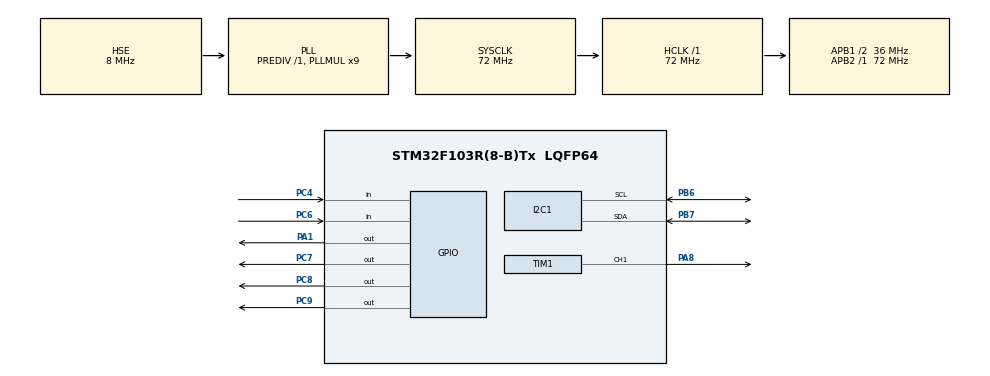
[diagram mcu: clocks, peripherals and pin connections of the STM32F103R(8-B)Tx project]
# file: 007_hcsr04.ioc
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I2C1.I2C_Mode=I2C_Fast
Mcu.Family=STM32F1
Mcu.Name=STM32F103R(8-B)Tx
Mcu.Package=LQFP64
NVIC.PriorityGroup=NVIC_PRIORITYGROUP_4
PA1.Signal=GPIO_Output
PA8.Signal=S_TIM1_CH1
PB6.Mode=I2C
PB6.Signal=I2C1_SCL
PB7.Mode=I2C
PB7.Signal=I2C1_SDA
PC4.Signal=GPIO_Input
PC6.Signal=GPIO_Input
PC7.Signal=GPIO_Output
PC8.Signal=GPIO_Output
PC9.Signal=GPIO_Output
PD0-OSC_IN.Mode=HSE-External-Oscillator
PD0-OSC_IN.Signal=RCC_OSC_IN
PD1-OSC_OUT.Mode=HSE-External-Oscillator
PD1-OSC_OUT.Signal=RCC_OSC_OUT
ProjectManager.HeapSize=0x200
ProjectManager.StackSize=0x400
ProjectManager.TargetToolchain=STM32CubeIDE
RCC.AHBFreq_Value=72000000
RCC.APB1CLKDivider=RCC_HCLK_DIV2
RCC.APB1Freq_Value=36000000
RCC.APB1TimFreq_Value=72000000
RCC.APB2Freq_Value=72000000
RCC.APB2TimFreq_Value=72000000
RCC.HCLKFreq_Value=72000000
RCC.PLLMUL=RCC_PLL_MUL9
RCC.PLLSourceVirtual=RCC_PLLSOURCE_HSE
RCC.SYSCLKFreq_VALUE=72000000
RCC.SYSCLKSource=RCC_SYSCLKSOURCE_PLLCLK
RCC.USBFreq_Value=72000000
SH.S_TIM1_CH1.0=TIM1_CH1,PWM Generation1 CH1
TIM1.Channel-PWM\ Generation1\ CH1=TIM_CHANNEL_1
TIM1.Period=7199
TIM1.Prescaler=10
board=custom

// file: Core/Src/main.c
/* USER CODE BEGIN Header */
/**
  ******************************************************************************
  * @file           : main.c
  * @brief          : Main program body
  ******************************************************************************
  * @attention
  *
  * Copyright (c) 2023 STMicroelectronics.
  * All rights reserved.
  *
  * This software is licensed under terms that can be found in the LICENSE file
  * in the root directory of this software component.
  * If no LICENSE file comes with this software, it is provided AS-IS.
  *
  ******************************************************************************
  */
/* USER CODE END Header */
#include "main.h"

/* USER CODE BEGIN Includes */
#include "dwt_delay.h"
#include "ssd1306.h"
/* USER CODE END Includes */

I2C_HandleTypeDef hi2c1;

TIM_HandleTypeDef htim1;

/* USER CODE BEGIN PV */

uint32_t time;
uint16_t distance;
int i=0;

/* USER CODE END PV */

void SystemClock_Config(void);
static void MX_GPIO_Init(void);
static void MX_I2C1_Init(void);
static void MX_TIM1_Init(void);

/* USER CODE BEGIN 0 */

uint32_t ReadHCSR04()
{
	uint32_t local_time=0;

	HAL_GPIO_WritePin(GPIOA, GPIO_PIN_1, GPIO_PIN_SET);
	DWT_Delay(10);
	HAL_GPIO_WritePin(GPIOA, GPIO_PIN_1, GPIO_PIN_RESET);

	while(!HAL_GPIO_ReadPin(GPIOC, GPIO_PIN_4));

	while(HAL_GPIO_ReadPin(GPIOC, GPIO_PIN_4))
	{
		local_time++;
		DWT_Delay(1);
	}
return local_time;
}

/* USER CODE END 0 */

int main(void)
{

  /* MCU Configuration--------------------------------------------------------*/

  /* Reset of all peripherals, Initializes the Flash interface and the Systick. */
  HAL_Init();

  /* Configure the system clock */
  SystemClock_Config();

  /* Initialize all configured peripherals */
  MX_GPIO_Init();
  MX_I2C1_Init();
  MX_TIM1_Init();
  /* USER CODE BEGIN 2 */

    HAL_TIM_PWM_Start(&htim1, TIM_CHANNEL_1);
    DWT_Init();
    SSD1306_Init();
    SSD1306_Clear();

  /* USER CODE END 2 */

  /* Infinite loop */
  while (1)
  {

    /* USER CODE BEGIN 3 */
	  while(HAL_GPIO_ReadPin(GPIOC, GPIO_PIN_6))
	  {
		  time=ReadHCSR04();
		  distance = time / 58 ;  // time * 0.034 / 2  olarak da yazılabilir.

		  if(distance < 39 && distance >= 20)
		  {
			  SSD1306_DrawFilledRectangle(5, 0, 20, 10, SSD1306_COLOR_WHITE);
			  SSD1306_DrawFilledRectangle(30, 0, 20, 20, SSD1306_COLOR_BLACK);
			  SSD1306_DrawFilledRectangle(55, 0, 20, 30, SSD1306_COLOR_BLACK);
			  SSD1306_DrawFilledRectangle(80, 0, 20, 40, SSD1306_COLOR_BLACK);
			  __HAL_TIM_SET_COMPARE(&htim1,TIM_CHANNEL_1,6000);
			  HAL_Delay(1000);
			  __HAL_TIM_SET_COMPARE(&htim1,TIM_CHANNEL_1,0);
		  }
		  else if(distance < 20 && distance >= 10)
		  {
			  SSD1306_DrawFilledRectangle(5, 0, 20, 10, SSD1306_COLOR_WHITE);
			  SSD1306_DrawFilledRectangle(30, 0, 20, 20, SSD1306_COLOR_WHITE);
			  SSD1306_DrawFilledRectangle(55, 0, 20, 30, SSD1306_COLOR_BLACK);
			  SSD1306_DrawFilledRectangle(80, 0, 20, 40, SSD1306_COLOR_BLACK);
			  __HAL_TIM_SET_COMPARE(&htim1,TIM_CHANNEL_1,6000);
			  HAL_Delay(750);
			  __HAL_TIM_SET_COMPARE(&htim1,TIM_CHANNEL_1,0);
		  }
		  else if(distance < 10 && distance >= 5)
		  {
			  SSD1306_DrawFilledRectangle(5, 0, 20, 10, SSD1306_COLOR_WHITE);
			  SSD1306_DrawFilledRectangle(30, 0, 20, 20, SSD1306_COLOR_WHITE);
			  SSD1306_DrawFilledRectangle(55, 0, 20, 30, SSD1306_COLOR_WHITE);
			  SSD1306_DrawFilledRectangle(80, 0, 20, 40, SSD1306_COLOR_BLACK);
			  __HAL_TIM_SET_COMPARE(&htim1,TIM_CHANNEL_1,6000);
			  HAL_Delay(500);
			  __HAL_TIM_SET_COMPARE(&htim1,TIM_CHANNEL_1,0);
		  }
		  else if(distance < 5 && distance >= 1)
		  {
			  SSD1306_DrawFilledRectangle(5, 0, 20, 10, SSD1306_COLOR_WHITE);
			  SSD1306_DrawFilledRectangle(30, 0, 20, 20, SSD1306_COLOR_WHITE);
			  SSD1306_DrawFilledRectangle(55, 0, 20, 30, SSD1306_COLOR_WHITE);
			  SSD1306_DrawFilledRectangle(80, 0, 20, 40, SSD1306_COLOR_WHITE);
			  __HAL_TIM_SET_COMPARE(&htim1,TIM_CHANNEL_1,6000);
			  HAL_Delay(250);
			  __HAL_TIM_SET_COMPARE(&htim1,TIM_CHANNEL_1,0);
		  }
		  else
		  {
			  SSD1306_DrawFilledRectangle(5, 0, 20, 10, SSD1306_COLOR_WHITE);
			  SSD1306_DrawFilledRectangle(30, 0, 20, 20, SSD1306_COLOR_BLACK);
			  SSD1306_DrawFilledRectangle(55, 0, 20, 30, SSD1306_COLOR_BLACK);
			  SSD1306_DrawFilledRectangle(80, 0, 20, 40, SSD1306_COLOR_BLACK);
			  //SSD1306_UpdateScreen();
			  __HAL_TIM_SET_COMPARE(&htim1,TIM_CHANNEL_1,0);
			  HAL_Delay(2);
		  }
		  SSD1306_UpdateScreen();
	  }
	  SSD1306_Clear();
  }
  /* USER CODE END 3 */
}

void SystemClock_Config(void)
{
  RCC_OscInitTypeDef RCC_OscInitStruct = {0};
  RCC_ClkInitTypeDef RCC_ClkInitStruct = {0};

  /** Initializes the RCC Oscillators according to the specified parameters
  * in the RCC_OscInitTypeDef structure.
  */
  RCC_OscInitStruct.OscillatorType = RCC_OSCILLATORTYPE_HSE;
  RCC_OscInitStruct.HSEState = RCC_HSE_ON;
  RCC_OscInitStruct.HSEPredivValue = RCC_HSE_PREDIV_DIV1;
  RCC_OscInitStruct.HSIState = RCC_HSI_ON;
  RCC_OscInitStruct.PLL.PLLState = RCC_PLL_ON;
  RCC_OscInitStruct.PLL.PLLSource = RCC_PLLSOURCE_HSE;
  RCC_OscInitStruct.PLL.PLLMUL = RCC_PLL_MUL9;
  if (HAL_RCC_OscConfig(&RCC_OscInitStruct) != HAL_OK)
  {
    Error_Handler();
  }

  /** Initializes the CPU, AHB and APB buses clocks
  */
  RCC_ClkInitStruct.ClockType = RCC_CLOCKTYPE_HCLK|RCC_CLOCKTYPE_SYSCLK
                              |RCC_CLOCKTYPE_PCLK1|RCC_CLOCKTYPE_PCLK2;
  RCC_ClkInitStruct.SYSCLKSource = RCC_SYSCLKSOURCE_PLLCLK;
  RCC_ClkInitStruct.AHBCLKDivider = RCC_SYSCLK_DIV1;
  RCC_ClkInitStruct.APB1CLKDivider = RCC_HCLK_DIV2;
  RCC_ClkInitStruct.APB2CLKDivider = RCC_HCLK_DIV1;

  if (HAL_RCC_ClockConfig(&RCC_ClkInitStruct, FLASH_LATENCY_2) != HAL_OK)
  {
    Error_Handler();
  }
}

static void MX_I2C1_Init(void)
{

  hi2c1.Instance = I2C1;
  hi2c1.Init.ClockSpeed = 400000;
  hi2c1.Init.DutyCycle = I2C_DUTYCYCLE_2;
  hi2c1.Init.OwnAddress1 = 0;
  hi2c1.Init.AddressingMode = I2C_ADDRESSINGMODE_7BIT;
  hi2c1.Init.DualAddressMode = I2C_DUALADDRESS_DISABLE;
  hi2c1.Init.OwnAddress2 = 0;
  hi2c1.Init.GeneralCallMode = I2C_GENERALCALL_DISABLE;
  hi2c1.Init.NoStretchMode = I2C_NOSTRETCH_DISABLE;
  if (HAL_I2C_Init(&hi2c1) != HAL_OK)
  {
    Error_Handler();
  }

}

static void MX_TIM1_Init(void)
{

  TIM_MasterConfigTypeDef sMasterConfig = {0};
  TIM_OC_InitTypeDef sConfigOC = {0};
  TIM_BreakDeadTimeConfigTypeDef sBreakDeadTimeConfig = {0};

  htim1.Instance = TIM1;
  htim1.Init.Prescaler = 10;
  htim1.Init.CounterMode = TIM_COUNTERMODE_UP;
  htim1.Init.Period = 7199;
  htim1.Init.ClockDivision = TIM_CLOCKDIVISION_DIV1;
  htim1.Init.RepetitionCounter = 0;
  htim1.Init.AutoReloadPreload = TIM_AUTORELOAD_PRELOAD_DISABLE;
  if (HAL_TIM_PWM_Init(&htim1) != HAL_OK)
  {
    Error_Handler();
  }
  sMasterConfig.MasterOutputTrigger = TIM_TRGO_RESET;
  sMasterConfig.MasterSlaveMode = TIM_MASTERSLAVEMODE_DISABLE;
  if (HAL_TIMEx_MasterConfigSynchronization(&htim1, &sMasterConfig) != HAL_OK)
  {
    Error_Handler();
  }
  sConfigOC.OCMode = TIM_OCMODE_PWM1;
  sConfigOC.Pulse = 0;
  sConfigOC.OCPolarity = TIM_OCPOLARITY_HIGH;
  sConfigOC.OCNPolarity = TIM_OCNPOLARITY_HIGH;
  sConfigOC.OCFastMode = TIM_OCFAST_DISABLE;
  sConfigOC.OCIdleState = TIM_OCIDLESTATE_RESET;
  sConfigOC.OCNIdleState = TIM_OCNIDLESTATE_RESET;
  if (HAL_TIM_PWM_ConfigChannel(&htim1, &sConfigOC, TIM_CHANNEL_1) != HAL_OK)
  {
    Error_Handler();
  }
  sBreakDeadTimeConfig.OffStateRunMode = TIM_OSSR_DISABLE;
  sBreakDeadTimeConfig.OffStateIDLEMode = TIM_OSSI_DISABLE;
  sBreakDeadTimeConfig.LockLevel = TIM_LOCKLEVEL_OFF;
  sBreakDeadTimeConfig.DeadTime = 0;
  sBreakDeadTimeConfig.BreakState = TIM_BREAK_DISABLE;
  sBreakDeadTimeConfig.BreakPolarity = TIM_BREAKPOLARITY_HIGH;
  sBreakDeadTimeConfig.AutomaticOutput = TIM_AUTOMATICOUTPUT_DISABLE;
  if (HAL_TIMEx_ConfigBreakDeadTime(&htim1, &sBreakDeadTimeConfig) != HAL_OK)
  {
    Error_Handler();
  }
  HAL_TIM_MspPostInit(&htim1);

}

static void MX_GPIO_Init(void)
{
  GPIO_InitTypeDef GPIO_InitStruct = {0};

  /* GPIO Ports Clock Enable */
  __HAL_RCC_GPIOD_CLK_ENABLE();
  __HAL_RCC_GPIOA_CLK_ENABLE();
  __HAL_RCC_GPIOC_CLK_ENABLE();
  __HAL_RCC_GPIOB_CLK_ENABLE();

  /*Configure GPIO pin Output Level */
  HAL_GPIO_WritePin(GPIOA, GPIO_PIN_1, GPIO_PIN_RESET);

  /*Configure GPIO pin Output Level */
  HAL_GPIO_WritePin(GPIOC, GPIO_PIN_7|GPIO_PIN_8|GPIO_PIN_9, GPIO_PIN_RESET);

  /*Configure GPIO pin : PA1 */
  GPIO_InitStruct.Pin = GPIO_PIN_1;
  GPIO_InitStruct.Mode = GPIO_MODE_OUTPUT_PP;
  GPIO_InitStruct.Pull = GPIO_NOPULL;
  GPIO_InitStruct.Speed = GPIO_SPEED_FREQ_LOW;
  HAL_GPIO_Init(GPIOA, &GPIO_InitStruct);

  /*Configure GPIO pins : PC4 PC6 */
  GPIO_InitStruct.Pin = GPIO_PIN_4|GPIO_PIN_6;
  GPIO_InitStruct.Mode = GPIO_MODE_INPUT;
  GPIO_InitStruct.Pull = GPIO_NOPULL;
  HAL_GPIO_Init(GPIOC, &GPIO_InitStruct);

  /*Configure GPIO pins : PC7 PC8 PC9 */
  GPIO_InitStruct.Pin = GPIO_PIN_7|GPIO_PIN_8|GPIO_PIN_9;
  GPIO_InitStruct.Mode = GPIO_MODE_OUTPUT_PP;
  GPIO_InitStruct.Pull = GPIO_NOPULL;
  GPIO_InitStruct.Speed = GPIO_SPEED_FREQ_LOW;
  HAL_GPIO_Init(GPIOC, &GPIO_InitStruct);

}

void Error_Handler(void)
{
  __disable_irq();
  while (1)
  {
  }
}
